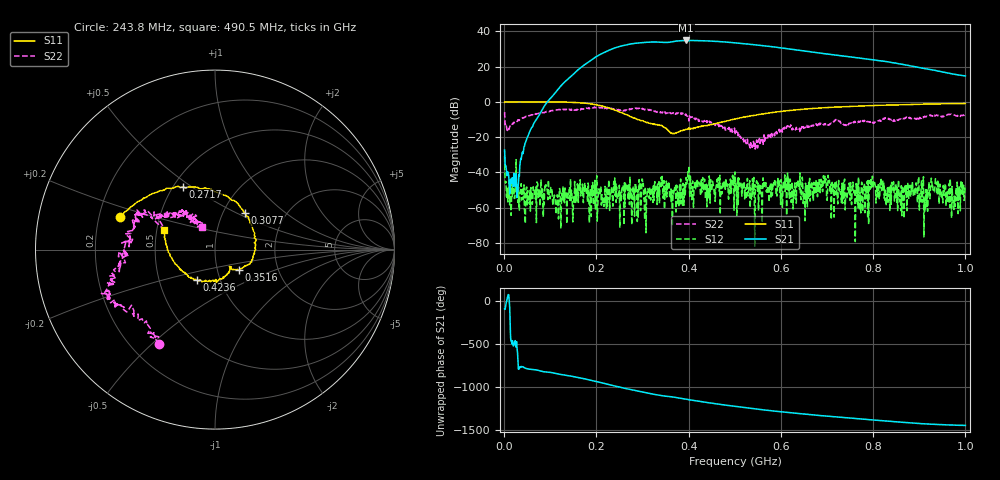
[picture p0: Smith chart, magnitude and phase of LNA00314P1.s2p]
! Created with skrf 1.9.0 (http://scikit-rf.org).
# Hz S RI R 50.0
!freq ReS11 ImS11 ReS21 ImS21 ReS12 ImS12 ReS22 ImS22
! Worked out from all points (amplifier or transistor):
!   1001 points, 1 MHz to 1 GHz, reference 50 ohm
!   highest |S21| = 34.8 dB at 394.6 MHz (marker M1)
!   |S21| within 3 dB of that: 256.4 MHz to 561.4 MHz (305 MHz wide, 74.6 % of centre) (the widest 1 of 2)
!   unconditionally stable (mu >= 1): start of sweep to 80.18 MHz; 292.8 MHz to 398.6 MHz; 400.7 MHz to end of sweep (the widest 3 of 28)
!   at 166.8 MHz: K = 1.03, MAG = 34.2 dB, |S12| = -51.0 dB
!   at 500.5 MHz: K = 1.13, MAG = 34.4 dB, |S12| = -39.8 dB
!   at 1 GHz: K = 3.51, MAG = 22.8 dB, |S12| = -47.8 dB
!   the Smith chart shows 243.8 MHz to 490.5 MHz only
!   S11 on the Smith chart (normalised r, x): 243.8 MHz: 0.29, +0.15; 271.7 MHz: 0.56, +0.46; 307.7 MHz: 1.26, +0.55; 351.6 MHz: 1.26, -0.30; 423.6 MHz: 0.78, -0.27; 490.5 MHz: 0.55, +0.13
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1000000  0.9741 0.0072  -0.00328 -0.043  -0.0172 0.0227  0.3732 0.349
1.08892e8  0.5077 -0.8529  -0.7949 -1.489  0.00223 0.000491  0.4335 -0.3626
1.67833e8  -0.2541 -0.8925  -9.72 -0.5685  -0.000152 -0.00259  0.0371 -0.6403
2.09791e8  -0.6893 -0.3595  -15.27 16.6  -0.00207 0.00339  -0.2024 -0.6516
2.43757e8  -0.5304 0.1823  0.9554 34.94  -0.00373 0.00102  -0.3128 -0.5259
2.71729e8  -0.1766 0.3486  25.12 34.68  0.000279 -0.00119  -0.5051 -0.3213
3.07693e8  0.1658 0.2029  47.11 12.05  0.000149 -0.000125  -0.5588 -0.1821
3.34666e8  0.2189 -0.0201  48.11 -10.94  0.000286 0.0021  -0.5164 -0.0367
3.51649e8  0.132 -0.1146  43.28 -20.99  -0.000756 0.00559  -0.4793 0.0161
3.72628e8  0.0847 -0.0992  40.58 -33.54  -0.000168 -0.000734  -0.4434 0.1785
3.94606e8  0.0383 -0.1642  27.27 -47.57  0.00383 0.00606  -0.3739 0.2141
4.23577e8  -0.0999 -0.17  4.783 -53.89  0.00284 0.00374  -0.2234 0.1764
4.53547e8  -0.2212 -0.0806  -16.41 -49.44  0.00127 0.00406  -0.1579 0.1718
4.9051e8  -0.2841 0.1103  -34.39 -33.52  0.00643 0.000751  -0.0711 0.1245
5.005e8  -0.2821 0.1695  -37.61 -28.44  0.0103 2.58e-05  -0.0707 0.0937
5.39461e8  -0.1927 0.3586  -40.99 -8.21  -0.000633 -0.00239  -0.0613 -0.00529
5.85415e8  0.0128 0.5049  -34.24 10.37  0.00359 -0.00186  -0.1089 -0.0474
6.25375e8  0.2067 0.5415  -23.65 19.15  -0.00118 -0.00304  -0.155 -0.0922
6.67333e8  0.4071 0.4977  -12.56 22.37  0.00499 0.00241  -0.2053 -0.0237
7.53247e8  0.6845 0.2851  2.983 18.26  -0.00114 0.000449  -0.2482 0.0449
8.34166e8  0.8072 0.0174  9.423 9.567  -0.0011 0.00181  -0.3229 0.031
1e9  0.7297 -0.5256  5.406 -0.3166  -0.00409 -9.04e-05  -0.2665 0.333
